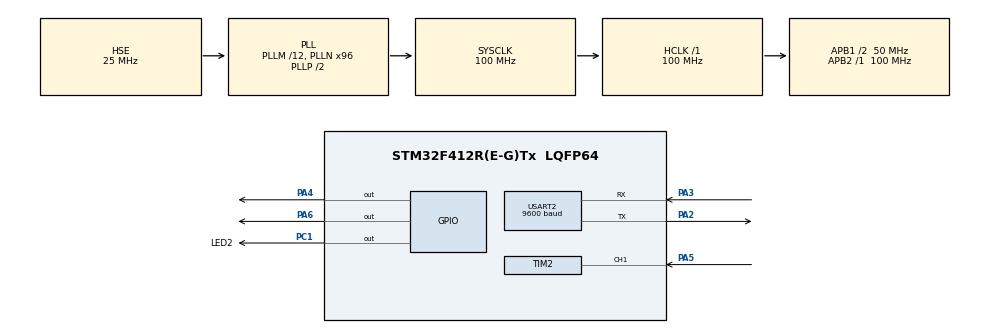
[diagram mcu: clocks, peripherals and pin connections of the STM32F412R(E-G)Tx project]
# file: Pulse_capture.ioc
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Dma.Request0=USART2_RX
Dma.Request1=USART2_TX
Dma.USART2_RX.0.Direction=DMA_PERIPH_TO_MEMORY
Dma.USART2_RX.0.FIFOMode=DMA_FIFOMODE_DISABLE
Dma.USART2_RX.0.Instance=DMA1_Stream5
Dma.USART2_RX.0.MemDataAlignment=DMA_MDATAALIGN_BYTE
Dma.USART2_RX.0.MemInc=DMA_MINC_ENABLE
Dma.USART2_RX.0.Mode=DMA_NORMAL
Dma.USART2_RX.0.PeriphDataAlignment=DMA_PDATAALIGN_BYTE
Dma.USART2_RX.0.PeriphInc=DMA_PINC_DISABLE
Dma.USART2_RX.0.Priority=DMA_PRIORITY_LOW
Dma.USART2_TX.1.Direction=DMA_MEMORY_TO_PERIPH
Dma.USART2_TX.1.FIFOMode=DMA_FIFOMODE_DISABLE
Dma.USART2_TX.1.Instance=DMA1_Stream6
Dma.USART2_TX.1.MemDataAlignment=DMA_MDATAALIGN_BYTE
Dma.USART2_TX.1.MemInc=DMA_MINC_ENABLE
Dma.USART2_TX.1.Mode=DMA_NORMAL
Dma.USART2_TX.1.PeriphDataAlignment=DMA_PDATAALIGN_BYTE
Dma.USART2_TX.1.PeriphInc=DMA_PINC_DISABLE
Dma.USART2_TX.1.Priority=DMA_PRIORITY_LOW
FREERTOS.Queues01=Pulse_Reception_Queue,5,uint8_t,0,Dynamic,NULL,NULL;Pulse_Sending_Queue,5,uint8_t,0,Dynamic,NULL,NULL
FREERTOS.Tasks01=defaultTask,24,128,StartDefaultTask,Default,NULL,Dynamic,NULL,NULL;Pulse_acquisitionTask,8,128,Pulse_acquisition,Default,NULL,Dynamic,NULL,NULL;ScreenTask,8,128,Screen,Default,NULL,Dynamic,NULL,NULL;Screen_TransferTask,8,128,Screen_Transfer,Default,NULL,Dynamic,NULL,NULL
FREERTOS.configMAX_TASK_NAME_LEN=32
Mcu.Family=STM32F4
Mcu.Name=STM32F412R(E-G)Tx
Mcu.Package=LQFP64
NVIC.DMA1_Stream5_IRQn=true\:5\:0\:false\:false\:true\:true\:false\:true\:true
NVIC.DMA1_Stream6_IRQn=true\:5\:0\:false\:false\:true\:true\:false\:true\:true
NVIC.PriorityGroup=NVIC_PRIORITYGROUP_4
NVIC.TIM1_UP_TIM10_IRQn=true\:15\:0\:false\:false\:true\:false\:false\:true\:true
NVIC.TIM2_IRQn=true\:5\:0\:false\:false\:true\:true\:true\:true\:true
NVIC.TimeBase=TIM1_UP_TIM10_IRQn
NVIC.TimeBaseIP=TIM1
NVIC.USART2_IRQn=true\:5\:0\:false\:false\:true\:true\:true\:true\:true
PA13.Mode=JTAG_5_pins
PA13.Signal=SYS_JTMS-SWDIO
PA14.Mode=JTAG_5_pins
PA14.Signal=SYS_JTCK-SWCLK
PA15.Mode=JTAG_5_pins
PA15.Signal=SYS_JTDI
PA2.Mode=Asynchronous
PA2.Signal=USART2_TX
PA3.Mode=Asynchronous
PA3.Signal=USART2_RX
PA4.Signal=GPIO_Output
PA5.GPIO_PuPd=GPIO_PULLDOWN
PA5.Signal=S_TIM2_CH1_ETR
PA6.Signal=GPIO_Output
PB3.Mode=JTAG_5_pins
PB3.Signal=SYS_JTDO-SWO
PB4.Mode=JTAG_5_pins
PB4.Signal=SYS_JTRST
PC1.GPIO_Label=LED2
PC1.GPIO_PuPd=GPIO_PULLUP
PC1.Signal=GPIO_Output
PH0\ -\ OSC_IN.Mode=HSE-External-Oscillator
PH0\ -\ OSC_IN.Signal=RCC_OSC_IN
PH1\ -\ OSC_OUT.Mode=HSE-External-Oscillator
PH1\ -\ OSC_OUT.Signal=RCC_OSC_OUT
ProjectManager.HeapSize=0x200
ProjectManager.StackSize=0x400
ProjectManager.TargetToolchain=MDK-ARM V5.32
RCC.AHBFreq_Value=100000000
RCC.APB1CLKDivider=RCC_HCLK_DIV2
RCC.APB1Freq_Value=50000000
RCC.APB1TimFreq_Value=100000000
RCC.APB2Freq_Value=100000000
RCC.APB2TimFreq_Value=100000000
RCC.CortexFreq_Value=100000000
RCC.HCLKFreq_Value=100000000
RCC.PLLM=12
RCC.PLLN=96
RCC.PLLSourceVirtual=RCC_PLLSOURCE_HSE
RCC.SYSCLKFreq_VALUE=100000000
RCC.SYSCLKSource=RCC_SYSCLKSOURCE_PLLCLK
RCC.USBFreq_Value=100000000
RCC.VCOOutputFreq_Value=200000000
SH.S_TIM2_CH1_ETR.0=TIM2_CH1,Input_Capture1_from_TI1
TIM2.Channel-Input_Capture1_from_TI1=TIM_CHANNEL_1
TIM2.ICPolarity_CH1=TIM_INPUTCHANNELPOLARITY_BOTHEDGE
TIM2.Period=999
TIM2.Prescaler=99
USART2.BaudRate=9600
USART2.VirtualMode=VM_ASYNC
VP_FREERTOS_VS_CMSIS_V2.Mode=CMSIS_V2
VP_SYS_VS_tim1.Mode=TIM1
board=custom

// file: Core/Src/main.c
/* USER CODE BEGIN Header */
/**
  ******************************************************************************
  * @file           : main.c
  * @brief          : Main program body
  ******************************************************************************
  * @attention
  *
  * Copyright (c) 2024 STMicroelectronics.
  * All rights reserved.
  *
  * This software is licensed under terms that can be found in the LICENSE file
  * in the root directory of this software component.
  * If no LICENSE file comes with this software, it is provided AS-IS.
  *
  ******************************************************************************
  */
/* USER CODE END Header */
#include "main.h"
#include "cmsis_os.h"
#include "dma.h"
#include "tim.h"
#include "usart.h"
#include "gpio.h"

/* USER CODE BEGIN Includes */
#include "tjc_usart_hmi.h"
/* USER CODE END Includes */

void SystemClock_Config(void);
void MX_FREERTOS_Init(void);

int main(void)
{

  /* MCU Configuration--------------------------------------------------------*/

  /* Reset of all peripherals, Initializes the Flash interface and the Systick. */
  HAL_Init();

  /* Configure the system clock */
  SystemClock_Config();

  /* Initialize all configured peripherals */
  MX_GPIO_Init();
  MX_DMA_Init();
  MX_TIM2_Init();
  MX_USART2_UART_Init();
  /* USER CODE BEGIN 2 */
	HAL_TIM_IC_Start_IT(&htim2,TIM_CHANNEL_1);		//开启定时器2通道一的捕获中断
	__HAL_TIM_ENABLE_IT(&htim2,TIM_IT_UPDATE);    //使能更新中断
	initRingBuff();																//初始化环形缓存区
	HAL_UART_Receive_IT(&huart2,RxBuff,1);				//打开串口接收中断
	TJCPrintf("0x00");         							  		//为确保串口HMI正常通信
  /* USER CODE END 2 */

  /* Init scheduler */
  osKernelInitialize();  /* Call init function for freertos objects (in freertos.c) */
  MX_FREERTOS_Init();

  /* Start scheduler */
  osKernelStart();

  /* We should never get here as control is now taken by the scheduler */
  /* Infinite loop */
  while (1)
  {

  }
}

void SystemClock_Config(void)
{
  RCC_OscInitTypeDef RCC_OscInitStruct = {0};
  RCC_ClkInitTypeDef RCC_ClkInitStruct = {0};

  /** Configure the main internal regulator output voltage
  */
  __HAL_RCC_PWR_CLK_ENABLE();
  __HAL_PWR_VOLTAGESCALING_CONFIG(PWR_REGULATOR_VOLTAGE_SCALE1);

  /** Initializes the RCC Oscillators according to the specified parameters
  * in the RCC_OscInitTypeDef structure.
  */
  RCC_OscInitStruct.OscillatorType = RCC_OSCILLATORTYPE_HSE;
  RCC_OscInitStruct.HSEState = RCC_HSE_ON;
  RCC_OscInitStruct.PLL.PLLState = RCC_PLL_ON;
  RCC_OscInitStruct.PLL.PLLSource = RCC_PLLSOURCE_HSE;
  RCC_OscInitStruct.PLL.PLLM = 12;
  RCC_OscInitStruct.PLL.PLLN = 96;
  RCC_OscInitStruct.PLL.PLLP = RCC_PLLP_DIV2;
  RCC_OscInitStruct.PLL.PLLQ = 2;
  RCC_OscInitStruct.PLL.PLLR = 2;
  if (HAL_RCC_OscConfig(&RCC_OscInitStruct) != HAL_OK)
  {
    Error_Handler();
  }

  /** Initializes the CPU, AHB and APB buses clocks
  */
  RCC_ClkInitStruct.ClockType = RCC_CLOCKTYPE_HCLK|RCC_CLOCKTYPE_SYSCLK
                              |RCC_CLOCKTYPE_PCLK1|RCC_CLOCKTYPE_PCLK2;
  RCC_ClkInitStruct.SYSCLKSource = RCC_SYSCLKSOURCE_PLLCLK;
  RCC_ClkInitStruct.AHBCLKDivider = RCC_SYSCLK_DIV1;
  RCC_ClkInitStruct.APB1CLKDivider = RCC_HCLK_DIV2;
  RCC_ClkInitStruct.APB2CLKDivider = RCC_HCLK_DIV1;

  if (HAL_RCC_ClockConfig(&RCC_ClkInitStruct, FLASH_LATENCY_3) != HAL_OK)
  {
    Error_Handler();
  }
}

/* USER CODE BEGIN 4 */
//void HAL_TIM_PeriodElapsedCallback(TIM_HandleTypeDef *htim)		//计数溢出回调函数
//{
//	if(TIM2 == htim->Instance)
//	{
//		if(IC_DONE_FLAG == 0)  // 未完成捕获
//		{
//			if(IC_START_FLAG == 1)  // 已经捕获到了高电平
//			{
//				IC_TIMES++;  // 捕获次数加一
//			}
//		}
//	}
//}

void HAL_TIM_IC_CaptureCallback(TIM_HandleTypeDef *htim)		//输入捕获回调函数
{
	if(TIM2 == htim->Instance)
	{
		if(START_FLAG==1)//判断是否接受到开始捕获命令
		{
			if(IC_DONE_FLAG == 0)  // 未完成捕获
			{
				if(IC_START_FLAG == 1)  // 原来是高电平，现在捕获到一个下降沿
				{
					IC_VALUE = HAL_TIM_ReadCapturedValue(&htim2, TIM_CHANNEL_1);  // 获取捕获值
//					__HAL_TIM_SET_COUNTER(&htim2,0);//计数器值清零
					TIM_RESET_CAPTUREPOLARITY(&htim2,TIM_CHANNEL_1);  //先清除原来的捕获极性
					TIM_SET_CAPTUREPOLARITY(&htim2,TIM_CHANNEL_1,TIM_ICPOLARITY_RISING);// 配置为上升沿捕获
					IC_START_FLAG = 0;  // 标志复位
					IC_DONE_FLAG = 1;  // 完成一次高电平捕获
					IC_DOWN_START_FLAG=1; 	//	完成一次高电平捕获后开始低电平捕获
					IC_DOWN_TIMES=0;	// 低电平捕获次数清零
				}
				else  // 捕获还未开始，第一次捕获到上升沿
				{
					IC_TIMES = 0;  // 捕获次数清零
					IC_VALUE = 0;  // 捕获值清零
					IC_START_FLAG = 1;  // 设置捕获到了上边沿的标志
					if(IC_DOWN_START_FLAG==1)//	完成一次高电平捕获后,捕获到下降沿，开始低电平计时
					{
						IC_DOWN_VALUE=HAL_TIM_ReadCapturedValue(&htim2, TIM_CHANNEL_1);  // 获取低电平持续时间
						IC_DOWN_START_FLAG=0;	 // 低电平捕获标志复位
						IC_DOWN_DONE_FLAG=1;	// 完成一次低电平捕获
					}
//					__HAL_TIM_SET_COUNTER(&htim2,0);//计数器值清零
					TIM_RESET_CAPTUREPOLARITY(&htim2,TIM_CHANNEL_1);  //	先清除原来的捕获极性
					TIM_SET_CAPTUREPOLARITY(&htim2,TIM_CHANNEL_1,TIM_ICPOLARITY_FALLING);// 配置为下降沿捕获

				}
				__HAL_TIM_SET_COUNTER(&htim2,0);  // 定时器计数值清零
			}
		}
	}

}
/* USER CODE END 4 */

void HAL_TIM_PeriodElapsedCallback(TIM_HandleTypeDef *htim)
{
  if (htim->Instance == TIM1) {
    HAL_IncTick();
  }
  /* USER CODE BEGIN Callback 1 */
	else if(TIM2 == htim->Instance)
	{
		if(IC_DONE_FLAG == 0)  // 高电平未完成捕获
		{
			if(IC_START_FLAG == 1)  // 已经捕获到了高电平
			{
				IC_TIMES++;  // 捕获次数加一
			}
		}
		if(IC_DOWN_DONE_FLAG == 0)  // 低电平未完成捕获
		{
			if(IC_DOWN_START_FLAG==1)	// 已经捕获到了低电平
			{
				IC_DOWN_TIMES++;	 // 捕获次数加一
				if(IC_DOWN_TIMES>=500)//	如果捕获次数大于等于500（低电平时间超过500ms），判断为一帧最后一段波
				{
					IC_DOWN_TIMES=0;	//	捕获次数清零
					IC_DOWN_DONE_FLAG=1;	//	标记为完成捕获
 					IC_END_FLAG=1;//捕获结束标志位（因为低电平时间超过500ms，则视为本次为一帧最后一段波）
				}
			}
		}
	}
  /* USER CODE END Callback 1 */
}

void Error_Handler(void)
{
  __disable_irq();
  while (1)
  {
  }
}

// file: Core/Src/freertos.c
/* USER CODE BEGIN Header */
/**
  ******************************************************************************
  * File Name          : freertos.c
  * Description        : Code for freertos applications
  ******************************************************************************
  * @attention
  *
  * Copyright (c) 2024 STMicroelectronics.
  * All rights reserved.
  *
  * This software is licensed under terms that can be found in the LICENSE file
  * in the root directory of this software component.
  * If no LICENSE file comes with this software, it is provided AS-IS.
  *
  ******************************************************************************
  */
/* USER CODE END Header */

#include "FreeRTOS.h"
#include "task.h"
#include "main.h"
#include "cmsis_os.h"

/* USER CODE BEGIN Includes */
#include "tjc_usart_hmi.h"
/* USER CODE END Includes */

/* USER CODE BEGIN PTD */
uint32_t IC_TIMES;  		// 捕获次数，单位1ms
uint32_t IC_DOWN_TIMES;  		// 捕获低电平次数，单位1ms
uint8_t IC_END_FLAG;	// 捕获结束标志位
uint8_t IC_START_FLAG;  // 捕获开始标志，1：已捕获到高电平；0：还没有捕获到高电平
uint8_t IC_DONE_FLAG;  	// 捕获完成标志，1：已完成一次高电平捕获
uint8_t IC_DOWN_DONE_FLAG;// 低电压捕获完成标志，1：已完成一次低电平捕获
uint16_t IC_VALUE;  		// 输入捕获的捕获值
uint16_t IC_DOWN_VALUE;  		// 下降沿输入捕获的捕获值
uint16_t IC_DOWN_START_FLAG;  		// 下降沿输入捕获开始标志，1：开始；0：还没有开始

uint32_t Pulse_count_total=0;	// 输入捕获的总上升沿数量
uint32_t Pulse_count=0;	// 输入捕获的一段上升沿数量
uint16_t Pulse_Cycle_Unqualified=0;  //脉冲周期不合格数
uint16_t Starting_angle=0;//开始角度
uint16_t End_angle=0;//结束角度
uint16_t Angle=0;//旋转角度
uint8_t Angular_velocity=0;//角速度
uint8_t Pulse_frame_rate=0;//脉冲帧数
uint8_t Pulse_standard_frame_rate=0;//脉冲标准帧数
uint8_t Unqualified_pulse_frame_rate=0;//不合格脉冲帧数
uint8_t START_FLAG=0;//开始捕获标志位
uint32_t Standard_pulse_count=0;//标准上升沿数量
uint32_t One_cycle_angle=0;//一周期内旋转角度
/* USER CODE END PTD */

/* USER CODE BEGIN PD */
#define FRAMELENGTH 9							//接受屏幕数据字节数
#define Pulse_Filtering 1000   		//脉冲滤波us
#define Interval 500 							//一帧脉冲间隔ms
#define Standard_Cycle_angle 0.2*1000000	//标准周期间隔角度°
#define Error_Criteria_angle 0.01*1000000	//标准误差角度
/* USER CODE END PD */

/* Definitions for defaultTask */
osThreadId_t defaultTaskHandle;
const osThreadAttr_t defaultTask_attributes = {
  .name = "defaultTask",
  .stack_size = 128 * 4,
  .priority = (osPriority_t) osPriorityNormal,
};
/* Definitions for Pulse_acquisitionTask */
osThreadId_t Pulse_acquisitionTaskHandle;
const osThreadAttr_t Pulse_acquisitionTask_attributes = {
  .name = "Pulse_acquisitionTask",
  .stack_size = 128 * 4,
  .priority = (osPriority_t) osPriorityLow,
};
/* Definitions for ScreenTask */
osThreadId_t ScreenTaskHandle;
const osThreadAttr_t ScreenTask_attributes = {
  .name = "ScreenTask",
  .stack_size = 128 * 4,
  .priority = (osPriority_t) osPriorityLow,
};
/* Definitions for Screen_TransferTask */
osThreadId_t Screen_TransferTaskHandle;
const osThreadAttr_t Screen_TransferTask_attributes = {
  .name = "Screen_TransferTask",
  .stack_size = 128 * 4,
  .priority = (osPriority_t) osPriorityLow,
};
/* Definitions for Pulse_Reception_Queue */
osMessageQueueId_t Pulse_Reception_QueueHandle;
const osMessageQueueAttr_t Pulse_Reception_Queue_attributes = {
  .name = "Pulse_Reception_Queue"
};
/* Definitions for Pulse_Sending_Queue */
osMessageQueueId_t Pulse_Sending_QueueHandle;
const osMessageQueueAttr_t Pulse_Sending_Queue_attributes = {
  .name = "Pulse_Sending_Queue"
};

void StartDefaultTask(void *argument);
void Pulse_acquisition(void *argument);
void Screen(void *argument);
void Screen_Transfer(void *argument);

void MX_FREERTOS_Init(void); /* (MISRA C 2004 rule 8.1) */

void MX_FREERTOS_Init(void) {

  /* Create the queue(s) */
  /* creation of Pulse_Reception_Queue */
  Pulse_Reception_QueueHandle = osMessageQueueNew (5, 7*sizeof(uint8_t), &Pulse_Reception_Queue_attributes);

  /* creation of Pulse_Sending_Queue */
  Pulse_Sending_QueueHandle = osMessageQueueNew (5, 6*sizeof(uint8_t), &Pulse_Sending_Queue_attributes);

  /* Create the thread(s) */
  /* creation of defaultTask */
  defaultTaskHandle = osThreadNew(StartDefaultTask, NULL, &defaultTask_attributes);

  /* creation of Pulse_acquisitionTask */
  Pulse_acquisitionTaskHandle = osThreadNew(Pulse_acquisition, NULL, &Pulse_acquisitionTask_attributes);

  /* creation of ScreenTask */
  ScreenTaskHandle = osThreadNew(Screen, NULL, &ScreenTask_attributes);

  /* creation of Screen_TransferTask */
  Screen_TransferTaskHandle = osThreadNew(Screen_Transfer, NULL, &Screen_TransferTask_attributes);

}

void StartDefaultTask(void *argument)
{
  /* USER CODE BEGIN StartDefaultTask */
  /* Infinite loop */
  for(;;)
  {

    osDelay(500);
		HAL_GPIO_TogglePin(LED2_GPIO_Port, LED2_Pin);
  }
  /* USER CODE END StartDefaultTask */
}

void Pulse_acquisition(void *argument)
{
  /* USER CODE BEGIN Pulse_acquisition */
	HAL_GPIO_WritePin(GPIOA, GPIO_PIN_6, GPIO_PIN_RESET);//配置DIR引脚低电平，电平转换器B->A
	uint32_t Pulse_Cycle= 0;//脉冲周期
	uint32_t Pulse_Up_Cycle= 0;//脉冲高电平时间
	uint32_t Pulse_Down_Cycle= 0;//脉冲低电平时间
	uint8_t Pulse_Cycle_array[7];	//脉冲周期数组
  /* Infinite loop */
  for(;;)
  {
    osDelay(1);
		if(IC_DONE_FLAG == 1)	// 如果完成一次高电平捕获
		{
			IC_DONE_FLAG = 0;	//标志清零
			Pulse_Up_Cycle = IC_TIMES * 1000;	//脉冲时间为捕获次数 * 1000us
			Pulse_Up_Cycle += IC_VALUE;	 // 加上捕获时间（小于1ms的部分)
			if(Pulse_Up_Cycle>=Pulse_Filtering)	//滤波
			{
				Pulse_Cycle_array[0]=0x55;
				Pulse_Cycle_array[1]=0xB1;
				Pulse_Cycle_array[2]=0x00;
				Pulse_Cycle_array[3]=0x00;
				Pulse_Cycle_array[4]=0x00;
				Pulse_Cycle_array[5]=0x00;
				Pulse_Cycle_array[6]=0xff;
				osMessageQueuePut(Pulse_Reception_QueueHandle,Pulse_Cycle_array,1,0);
			}
		}
		if(IC_DOWN_DONE_FLAG == 1)	// 在完成一次高电平后，完成低电平捕获
		{
			IC_DOWN_DONE_FLAG = 0;	//标志清零
			if(IC_END_FLAG==1)
			{
				IC_END_FLAG=0;
				continue;
			}
			Pulse_Down_Cycle = IC_DOWN_TIMES * 1000;	//脉冲时间为捕获次数 * 1000us
			Pulse_Down_Cycle += IC_DOWN_VALUE;	 // 加上捕获时间（小于1ms的部分)
			Pulse_Cycle=Pulse_Up_Cycle+Pulse_Down_Cycle;//脉冲周期
			if(Pulse_Cycle>=Pulse_Filtering)	//滤波
			{
				Pulse_Cycle_array[0]=0x55;
				Pulse_Cycle_array[1]=0xB2;
				Pulse_Cycle_array[2]=Pulse_Cycle&0xff;
				Pulse_Cycle_array[3]=(Pulse_Cycle>>8)&0xff;
				Pulse_Cycle_array[4]=(Pulse_Cycle>>16)&0xff;
				Pulse_Cycle_array[5]=(Pulse_Cycle>>24)&0xff;
				Pulse_Cycle_array[6]=0xff;
				osMessageQueuePut(Pulse_Reception_QueueHandle,Pulse_Cycle_array,1,0);
			}
		}
  }
  /* USER CODE END Pulse_acquisition */
}

void Screen(void *argument)
{
  /* USER CODE BEGIN Screen */
	uint32_t Pulse_Cycle_Send=0;//脉冲周期发送数
	uint8_t status=0;
	uint8_t Pulse_Cycle_Send_array[7];	//脉冲周期发送数组
	TJCPrintf("gather.t7.txt=\"%d\"",0);	//显示脉冲周期清0
	TJCPrintf("gather.t8.txt=\"%d\"",0);	//显示结束角度清0
	TJCPrintf("gather.t9.txt=\"%d\"",0);	//显示一段脉冲上升沿数量清0
	TJCPrintf("gather.t11.txt=\"%d\"",0);	//显示脉冲上升沿总数量清0
	TJCPrintf("gather.t12.txt=\"%d\"",0);	//显示脉冲帧数不合格数清0
	TJCPrintf("gather.t13.txt=\"%d\"",0);	//显示脉冲帧数清0
	TJCPrintf("set.n1.val=%d",0);	//显示开始角度清0
	TJCPrintf("set.n2.val=%d",0);	//显示结束角度清0
	TJCPrintf("set.n3.val=%d",0);	//显示角速度清0
	TJCPrintf("set.n4.val=%d",0);	//显示脉冲帧数清0
	TJCPrintf("page set");	//显示返回主页面
  /* Infinite loop */
  for(;;)
  {
    osDelay(1);
		if(START_FLAG==1)//判断是否接受到开始捕获命令
		{
			status=osMessageQueueGet(Pulse_Reception_QueueHandle,Pulse_Cycle_Send_array,NULL,Interval);
			if(status!=osOK)	//一段时间（500ms）未收到脉冲
			{
				if(Pulse_count!=0)
				{
					if(Pulse_frame_rate<Pulse_standard_frame_rate)//判断帧数
					{
						Pulse_frame_rate++;	//脉冲帧数计数
						if(Pulse_count!=Standard_pulse_count)//一帧脉冲波未到达标准脉冲波数
						{
							Unqualified_pulse_frame_rate++;
						}
						Pulse_count=0;	//当前段脉冲上升沿数量清零
						Pulse_Cycle_Unqualified=0;	//脉冲周期不合格数清零
						TJCPrintf("gather.t7.txt=\"%d\"",0);	//显示脉冲周期清0
						TJCPrintf("gather.t8.txt=\"%d\"",0);	//显示结束角度清0
						TJCPrintf("gather.t9.txt=\"%d\"",0);	//显示一段脉冲上升沿数量清0
						TJCPrintf("gather.t12.txt=\"%d\"",Unqualified_pulse_frame_rate);	//显示脉冲帧数不合格数
						TJCPrintf("gather.t13.txt=\"%d\"",Pulse_frame_rate);	//显示脉冲帧数
					}
					else
					{
						Pulse_frame_rate=0;
						START_FLAG=0;	//脉冲捕获关闭
					}
				}
			}
			else
			{
				if(Pulse_Cycle_Send_array[0]==0x55&&Pulse_Cycle_Send_array[6]==0xff)
				{
					if(Pulse_Cycle_Send_array[1]==0xB2)
					{
						Pulse_Cycle_Send=Pulse_Cycle_Send_array[2]|(Pulse_Cycle_Send_array[3]<<8)|(Pulse_Cycle_Send_array[4]<<16)|(Pulse_Cycle_Send_array[5]<<24);
						One_cycle_angle=Pulse_Cycle_Send*Angular_velocity;	//一脉冲周期内旋转的角度
						if((One_cycle_angle-Standard_Cycle_angle>Error_Criteria_angle)||(Standard_Cycle_angle-One_cycle_angle>Error_Criteria_angle)) //周期误差大于误差标准
						{
							Pulse_Cycle_Unqualified++;
						}
						TJCPrintf("gather.t7.txt=\"%d\"",Pulse_Cycle_Send);	//显示周期
					}
					Pulse_count_total++;	//脉冲上升沿总数
					Pulse_count++;	//一帧脉冲上升沿数量
					TJCPrintf("gather.t9.txt=\"%d\"",Pulse_count);	//显示一段脉冲上升沿数量
					TJCPrintf("gather.t11.txt=\"%d\"",Pulse_count_total);	//显示脉冲上升沿总数量
					TJCPrintf("gather.t8.txt=\"%d\"",Pulse_Cycle_Unqualified);	//显示脉冲周期不合格数
				}
			}
		}
  }
  /* USER CODE END Screen */
}

void Screen_Transfer(void *argument)
{
  /* USER CODE BEGIN Screen_Transfer */
  /* Infinite loop */
  for(;;)
  {
		osDelay(1);
		while(usize >= FRAMELENGTH)//串口缓存区数量大于6
	  {
		  //校验帧头帧尾是否匹配
		  if(u(0) != 0x55 || u(6) != 0xff || u(7) != 0xff || u(8) != 0xff)
		  {
			  //不匹配删除1字节
			  udelete(1);
		  }else
		  {
			  //匹配，跳出循环
			  break;
		  }
	  }
	  //进行解析
	  if(usize >= FRAMELENGTH && u(0) == 0x55 && u(6) == 0xff && u(7) == 0xff && u(8) == 0xff)
	  {
			switch(u(1))
			{
				case 0XEE://退出本次捕获
					Pulse_Cycle_Unqualified=0;	//脉冲周期不合格数清0
					Pulse_count=0;	//当前段一帧脉冲上升沿数量清0
					Standard_pulse_count=0;//标准一帧上升沿数量清0
					Pulse_count_total=0;	//脉冲上升沿总数清0
					Unqualified_pulse_frame_rate=0;	//脉冲帧数不合格数清0
					Pulse_frame_rate=0;//总脉冲帧数清0
					Starting_angle=0;//上次开始角度参数清0
					End_angle=0;//上次结束角度参数清0
					Angular_velocity=0;//上次角速度参数清0
					Pulse_standard_frame_rate=0;//上次脉冲标准帧数参数清0
					START_FLAG=0;	//脉冲捕获关闭
					IC_END_FLAG=0;
					break;

				case 0XA1://开始角度
					Starting_angle=(u(5)<<24)|(u(4)<<16)|(u(3)<<8)|(u(2)<<0);//因为屏幕常量为小端传输，因此需此移位计算
					break;

				case 0XA2://结束角度
					End_angle=(u(5)<<24)|(u(4)<<16)|(u(3)<<8)|(u(2)<<0);
					break;

				case 0XA3://角速度
					Angular_velocity=(u(5)<<24)|(u(4)<<16)|(u(3)<<8)|(u(2)<<0);
					break;

				case 0XA4://脉冲标准帧数
					Pulse_standard_frame_rate=(u(5)<<24)|(u(4)<<16)|(u(3)<<8)|(u(2)<<0);
					break;

				case 0XAA://开始捕获
					START_FLAG=1;
					Angle=End_angle-Starting_angle;//旋转角度计算
					Standard_pulse_count=Angle/0.2+1;//标准一帧上升沿数量
					TJCPrintf("gather.t10.txt=\"%d\"",Standard_pulse_count);	//显示标准一帧上升沿数量
					break;

				default:
					break;
			}
		  udelete(FRAMELENGTH);//删除串口缓冲区中相应长度的数据
	  }

  }
  /* USER CODE END Screen_Transfer */
}
